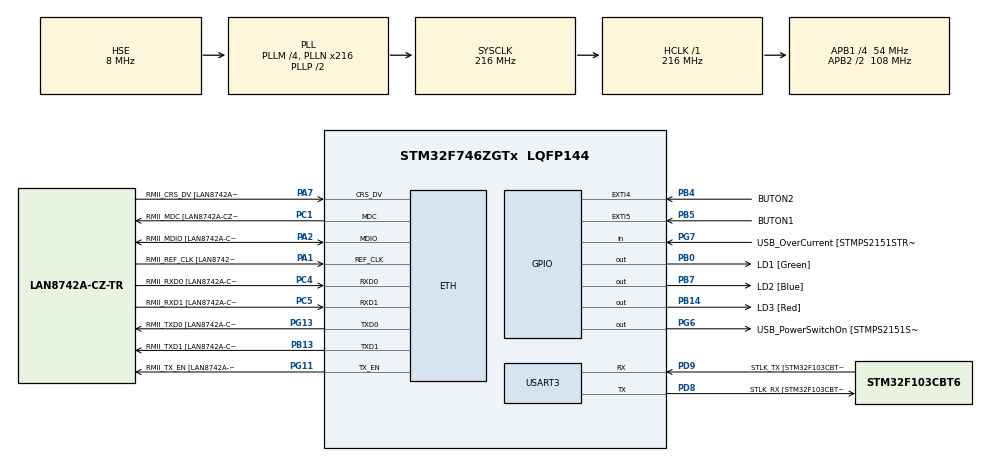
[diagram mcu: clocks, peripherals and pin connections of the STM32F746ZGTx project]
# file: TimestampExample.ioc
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ETH.MediaInterface=ETH_MEDIA_INTERFACE_RMII
ETH.PHY_Name=LAN8742A_PHY_ADDRESS
ETH.PHY_Value=0
ETH.PhyAddress=0
LWIP.IP_ADDRESS=010.042.000.010
LWIP.LWIP_DHCP=0
LWIP.LWIP_SNTP=0
LWIP.NETMASK_ADDRESS=255.255.255.000
LWIP.Version=v2.1.2_Cube
Mcu.Family=STM32F7
Mcu.Name=STM32F746ZGTx
Mcu.Package=LQFP144
NVIC.EXTI4_IRQn=true\:0\:0\:false\:false\:true\:true\:true\:true
NVIC.EXTI9_5_IRQn=true\:0\:0\:false\:false\:true\:true\:true\:true
NVIC.PriorityGroup=NVIC_PRIORITYGROUP_4
NVIC.RTC_WKUP_IRQn=true\:0\:0\:false\:false\:true\:true\:true\:true
PA1.GPIO_Label=RMII_REF_CLK [LAN8742A-CZ-TR_REFCLK0]
PA1.Mode=RMII
PA1.Signal=ETH_REF_CLK
PA13.GPIO_Label=TMS
PA13.Mode=Trace_Asynchronous_SW
PA13.Signal=SYS_JTMS-SWDIO
PA14.GPIO_Label=TCK
PA14.Mode=Trace_Asynchronous_SW
PA14.Signal=SYS_JTCK-SWCLK
PA2.GPIO_Label=RMII_MDIO [LAN8742A-CZ-TR_MDIO]
PA2.Mode=RMII
PA2.Signal=ETH_MDIO
PA7.GPIO_Label=RMII_CRS_DV [LAN8742A-CZ-TR_CRS_DV]
PA7.Mode=RMII
PA7.Signal=ETH_CRS_DV
PB0.GPIO_Label=LD1 [Green]
PB0.Signal=GPIO_Output
PB13.GPIO_Label=RMII_TXD1 [LAN8742A-CZ-TR_TXD1]
PB13.Mode=RMII
PB13.Signal=ETH_TXD1
PB14.GPIO_Label=LD3 [Red]
PB14.Signal=GPIO_Output
PB3.GPIO_Label=SW0
PB3.Mode=Trace_Asynchronous_SW
PB3.Signal=SYS_JTDO-SWO
PB4.GPIO_Label=BUTON2
PB4.GPIO_ModeDefaultEXTI=GPIO_MODE_IT_RISING
PB4.GPIO_PuPd=GPIO_PULLDOWN
PB4.Signal=GPXTI4
PB5.GPIO_Label=BUTON1
PB5.GPIO_ModeDefaultEXTI=GPIO_MODE_IT_RISING
PB5.GPIO_PuPd=GPIO_PULLDOWN
PB5.Signal=GPXTI5
PB7.GPIO_Label=LD2 [Blue]
PB7.Signal=GPIO_Output
PC1.GPIO_Label=RMII_MDC [LAN8742A-CZ-TR_MDC]
PC1.Mode=RMII
PC1.Signal=ETH_MDC
PC14/OSC32_IN.Mode=LSE-External-Oscillator
PC14/OSC32_IN.Signal=RCC_OSC32_IN
PC15/OSC32_OUT.Mode=LSE-External-Oscillator
PC15/OSC32_OUT.Signal=RCC_OSC32_OUT
PC4.GPIO_Label=RMII_RXD0 [LAN8742A-CZ-TR_RXD0]
PC4.Mode=RMII
PC4.Signal=ETH_RXD0
PC5.GPIO_Label=RMII_RXD1 [LAN8742A-CZ-TR_RXD1]
PC5.Mode=RMII
PC5.Signal=ETH_RXD1
PD8.GPIO_Label=STLK_RX [STM32F103CBT6_PA3]
PD8.Mode=Asynchronous
PD8.Signal=USART3_TX
PD9.GPIO_Label=STLK_TX [STM32F103CBT6_PA2]
PD9.Mode=Asynchronous
PD9.Signal=USART3_RX
PG11.GPIO_Label=RMII_TX_EN [LAN8742A-CZ-TR_TXEN]
PG11.Mode=RMII
PG11.Signal=ETH_TX_EN
PG13.GPIO_Label=RMII_TXD0 [LAN8742A-CZ-TR_TXD0]
PG13.Mode=RMII
PG13.Signal=ETH_TXD0
PG6.GPIO_Label=USB_PowerSwitchOn [STMPS2151STR_EN]
PG6.Signal=GPIO_Output
PG7.GPIO_Label=USB_OverCurrent [STMPS2151STR_FAULT]
PG7.Signal=GPIO_Input
PH0/OSC_IN.Mode=HSE-External-Clock-Source
PH0/OSC_IN.Signal=RCC_OSC_IN
PH1/OSC_OUT.Mode=HSE-External-Clock-Source
PH1/OSC_OUT.Signal=RCC_OSC_OUT
ProjectManager.HeapSize=0x200
ProjectManager.StackSize=0x400
ProjectManager.TargetToolchain=STM32CubeIDE
RCC.48MHZClocksFreq_Value=24000000
RCC.AHBFreq_Value=216000000
RCC.APB1CLKDivider=RCC_HCLK_DIV4
RCC.APB1Freq_Value=54000000
RCC.APB1TimFreq_Value=108000000
RCC.APB2CLKDivider=RCC_HCLK_DIV2
RCC.APB2Freq_Value=108000000
RCC.APB2TimCLKDivider=1
RCC.APB2TimFreq_Value=108000000
RCC.CortexFreq_Value=216000000
RCC.HCLKFreq_Value=216000000
RCC.HSE_VALUE=8000000
RCC.HSI_VALUE=16000000
RCC.PLLM=4
RCC.PLLMUL=RCC_PLL_MUL9
RCC.PLLN=216
RCC.PLLQ=9
RCC.PLLSourceVirtual=RCC_PLLSOURCE_HSE
RCC.PRESCALERUSB=RCC_USBCLKSOURCE_PLL_DIV1_5
RCC.RTCClockSelection=RCC_RTCCLKSOURCE_LSE
RCC.SYSCLKFreq_VALUE=216000000
RCC.SYSCLKSource=RCC_SYSCLKSOURCE_PLLCLK
RCC.SYSCLKSourceVirtual=RCC_SYSCLKSOURCE_PLLCLK
RCC.USBFreq_Value=48000000
RCC.VCOOutputFreq_Value=432000000
RTC.AsynchPrediv=31
RTC.SynchPrediv=1023
USART3.VirtualMode-Asynchronous=VM_ASYNC
VP_LWIP_VS_Enabled.Mode=Enabled
VP_RTC_VS_RTC_Activate.Mode=RTC_Enabled
VP_RTC_VS_RTC_Calendar.Mode=RTC_Calendar
VP_RTC_VS_RTC_WakeUp_intern.Mode=WakeUp
board=NUCLEO-F746ZG

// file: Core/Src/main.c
/* USER CODE BEGIN Header */
/**
  ******************************************************************************
  * @file           : main.c
  * @brief          : Main program body
  ******************************************************************************
  * @attention
  *
  * Copyright (c) 2022 STMicroelectronics.
  * All rights reserved.
  *
  * This software is licensed under terms that can be found in the LICENSE file
  * in the root directory of this software component.
  * If no LICENSE file comes with this software, it is provided AS-IS.
  *
  ******************************************************************************
  */
/* USER CODE END Header */
#include "main.h"
#include "lwip.h"

/* USER CODE BEGIN Includes */
#include "stdio.h"
//#include "retarget.h"
#include "qpc.h"
#include "Shape.h"
#include "stdlib.h"  /*For malloc function*/
#include "time.h"
#include <inttypes.h>
#include "lwip/udp.h"
#include "string.h"
#include "sntp.h"

/* USER CODE END Includes */

/* USER CODE BEGIN PTD */
RTC_HandleTypeDef hrtc;
RTC_TimeTypeDef  sTime;
RTC_DateTypeDef  sDate;

#define NTP_MSJ_BOYUT 48

static struct udp_pcb *NtpPcb;
static struct pbuf *NtpBuffer=NULL;
err_t NtpErr;
char Ntp_Message[NTP_MSJ_BOYUT];

/* USER CODE END PTD */

/* USER CODE BEGIN PD */
#define UartHandle &huart3
#define RtcHandle  &hrtc
static uint16_t YearStart=2000;

uint16_t MsecArr[100]={0};
uint16_t MsecArrCntr=0;

//#define LOCALIP_1 192
//#define LOCALIP_2 168
//#define LOCALIP_3 0
//#define LOCALIP_4 5
//
//#define REMOTEIP_1 192
//#define REMOTEIP_2 168
//#define REMOTEIP_3 0
//#define REMOTEIP_4 1

#define LOCALIP_1 10
#define LOCALIP_2 42
#define LOCALIP_3 0
#define LOCALIP_4 10

#define REMOTEIP_1 10
#define REMOTEIP_2 42
#define REMOTEIP_3 0
#define REMOTEIP_4 1

#define NTP_PORT    123
#define NTP_LOCALPORT 5666

/* USER CODE END PD */

RTC_HandleTypeDef hrtc;

UART_HandleTypeDef huart3;

/* USER CODE BEGIN PV */
static time_t  timestamp=0;
static struct tm 	currTime;
static uint16_t milliseconds=0;
long long int longtimestamp=0;

/* USER CODE END PV */

void SystemClock_Config(void);
static void MX_GPIO_Init(void);
static void MX_USART3_UART_Init(void);
static void MX_RTC_Init(void);
/* USER CODE BEGIN PFP */

void udpNtpcallback(void *arg,struct udp_pcb *NtpPcb,struct pbuf *NtpBuffer,const ip_addr_t *addr,u16_t port);

void LocalNtp_Request(void)
{

//    NtpPcb = udp_new();

//    if (!NtpPcb)
//    {
//        LOCAL_NTP_DEBUG("[Error] UDP_NEW Failed! \r\n");
//        return;
//    }

    memset(Ntp_Message, 0, NTP_MSJ_BOYUT);

    Ntp_Message[0] = 0x1B;
//    IP4_ADDR(&DestIPaddr, IP_ADDR0, IP_ADDR1, IP_ADDR2, IP_ADDR3);
//    IP4_ADDR(&NtpPcb->remote_ip,REMOTEIP_1,REMOTEIP_2,REMOTEIP_3,REMOTEIP_4);

    NtpErr = udp_connect(NtpPcb, &NtpPcb->remote_ip, NTP_PORT);

//    udp_recv(NtpPcb, udpNtpcallback, NULL);

    if (NtpErr == ERR_OK)
    {
    	NtpBuffer = pbuf_alloc(PBUF_TRANSPORT, NTP_MSJ_BOYUT,  PBUF_REF);
        memcpy(NtpBuffer->payload, Ntp_Message, NTP_MSJ_BOYUT);

        NtpErr = udp_send(NtpPcb, NtpBuffer);

        if (NtpErr != ERR_OK)
        {
            udp_remove(NtpPcb);
        }

        pbuf_free(NtpBuffer);

    }
}

int8_t UdpNTP_Konf(void)
{
	NtpPcb = udp_new();
	IP4_ADDR(&NtpPcb->remote_ip,REMOTEIP_1,REMOTEIP_2,REMOTEIP_3,REMOTEIP_4);
	NtpPcb->remote_port = NTP_PORT;
	IP4_ADDR(&NtpPcb->local_ip,LOCALIP_1,LOCALIP_2,LOCALIP_3,LOCALIP_4);
	NtpPcb->local_port = NTP_LOCALPORT;
	NtpErr = udp_bind(NtpPcb, &NtpPcb->local_ip,NtpPcb->local_port);
	if(NtpErr == 0){
		udp_recv(NtpPcb, &udpNtpcallback, NULL);
	}
	return NtpErr;
}

void NtpMesajParcala(void)
{
    const unsigned long seventyYears = 2208988800UL;
    static unsigned long secsSince1900 = 0;
    struct tm *stmU;
    time_t epoch;

    secsSince1900 = (Ntp_Message[ 40 ] << 24) | (Ntp_Message[ 41 ] << 16) | (Ntp_Message[ 42 ] <<  8) | (Ntp_Message[ 43 ]);
    epoch = secsSince1900 - seventyYears;
	stmU = localtime(&epoch);
	sDate.Year = stmU->tm_year - 100;
	sDate.Month = stmU->tm_mon + 1;
	sDate.Date = stmU->tm_mday;
//	sTime.Hours = stmU->tm_hour + 3;
	sTime.Hours = stmU->tm_hour;
	sTime.Minutes = stmU->tm_min;
	sTime.Seconds = stmU->tm_sec;

	/** Initialize RTC and set the Time and Date*/
	if (HAL_RTC_SetTime(&hrtc, &sTime, RTC_FORMAT_BIN) != HAL_OK)
		Error_Handler();
	if (HAL_RTC_SetDate(&hrtc, &sDate, RTC_FORMAT_BIN) != HAL_OK)
		Error_Handler();
}

void udpNtpcallback(void *arg,struct udp_pcb *NtpPcb,struct pbuf *NtpBuffer,const ip_addr_t *addr,u16_t port)
{
	memset(Ntp_Message,0x00,NTP_MSJ_BOYUT);
	memcpy(Ntp_Message, NtpBuffer -> payload, NtpBuffer -> tot_len);
	pbuf_free(NtpBuffer);

	NtpMesajParcala();

}

void UdpNtpVeriPaketiGonder(char arr[],uint8_t boyut,uint16_t port)
{
	  NtpBuffer = pbuf_alloc(PBUF_TRANSPORT,boyut, PBUF_POOL);
	  /* allocate pbuf from pool*/
	 if(NtpBuffer != NULL){
		/* copy data to pbuf */
		pbuf_take(NtpBuffer,arr,boyut);
		/* send udp data */
//		udp_send(NtpPcb,NtpBuffer);
		udp_sendto(NtpPcb, NtpBuffer, &NtpPcb->remote_ip, port);
	 }
		/* free pbuf */
		pbuf_free(NtpBuffer);
//		NtpBuffer = NULL;
}

void NtpIstekGonder(void)
{
    Ntp_Message[0] = 0x1B;
    UdpNtpVeriPaketiGonder(Ntp_Message,NTP_MSJ_BOYUT,NTP_PORT);
//	pbuf_free(NtpBuffer);
}

void HAL_RTCEx_WakeUpTimerEventCallback(RTC_HandleTypeDef *hrtc)
{
	static RTC_TimeTypeDef sTime;
	static RTC_DateTypeDef sDate;
	static char message[50];
	static size_t size;

	// Get current time and date
	HAL_RTC_GetTime(hrtc, &sTime, RTC_FORMAT_BIN);
	HAL_RTC_GetDate(hrtc, &sDate, RTC_FORMAT_BIN);
	currTime.tm_year = sDate.Year + 100;
	currTime.tm_mday = sDate.Date;
	currTime.tm_mon =  sDate.Month - 1;
	currTime.tm_hour = sTime.Hours;
	currTime.tm_min = sTime.Minutes;
	currTime.tm_sec = sTime.Seconds;
	uint16_t mseconds = (sTime.SubSeconds * 1000) / (sTime.SecondFraction + 1);
	timestamp = (mktime(&currTime) * 1000 + mseconds);
	longtimestamp = timestamp;
	__NOP();

//	if(MsecArrCntr <100){
//		MsecArr[MsecArrCntr] = mseconds;
//		MsecArrCntr++;
//	}

	// Send time and date over uart
	size = sprintf(message, "Date: %2.2u-%2.2u-%4.4u\n\r", sDate.Date, sDate.Month, sDate.Year + YearStart);
	HAL_UART_Transmit(UartHandle, (uint8_t*)message, size, 50);
	size = sprintf(message, "Time: %2.2u:%2.2u:%2.2u:%3.3u\n\r", sTime.Hours, sTime.Minutes, sTime.Seconds, mseconds);
	HAL_UART_Transmit(UartHandle, (uint8_t*)message, size, 50);
	size = sprintf(message, "%lld\n\r",longtimestamp);
	HAL_UART_Transmit(UartHandle, (uint8_t*)message, size, 50);

	UdpNtpVeriPaketiGonder(message, size, (uint16_t)5667);

}

void Q_onAssert(char const *module, int loc);

/* USER CODE END PFP */

/* USER CODE BEGIN 0 */
Shape s1; /*static allocation*/
/* USER CODE END 0 */

int main(void)
{

  /* MCU Configuration--------------------------------------------------------*/

  /* Reset of all peripherals, Initializes the Flash interface and the Systick. */
  HAL_Init();

  /* Configure the system clock */
  SystemClock_Config();

  /* Initialize all configured peripherals */
  MX_GPIO_Init();
  MX_USART3_UART_Init();
  MX_RTC_Init();
  MX_LWIP_Init();
  /* USER CODE BEGIN 2 */
//  RetargetInit(&huart3);

  // Disable Wakeup Timer and configure it
  HAL_RTCEx_DeactivateWakeUpTimer(RtcHandle);

//  // Data
//  RTC_TimeTypeDef sTime;
//  RTC_DateTypeDef sDate;
//  char message[50];
//  uint8_t size;
//
//  // Uart HELLO
//  size = sprintf(message, "\n\rHello\n\r");
//  HAL_UART_Transmit(UartHandle, (uint8_t*)message, size, 50);
//
//  // Set date and time
//  sDate.WeekDay = RTC_WEEKDAY_TUESDAY;
//  sDate.Date = 25;
//  sDate.Month = 5;
//  sDate.Year = 22; // from 0-99 (1972 == 72, start year = 1900)
//  HAL_RTC_SetDate(RtcHandle, &sDate, RTC_FORMAT_BIN);
//  sTime.Hours = 8;
//  sTime.Minutes = 57;
//  HAL_RTC_SetTime(RtcHandle, &sTime, RTC_FORMAT_BIN);

  // Start Wakeup timer with configuration (32768Hz / 16 = 2048) -> Counter = 2048
  HAL_RTCEx_SetWakeUpTimer_IT(RtcHandle, 2048-1, RTC_WAKEUPCLOCK_RTCCLK_DIV16);

//  // Start Wakeup timer with configuration (32768Hz / 2 = 16384) -> Counter = 16384
//  HAL_RTCEx_SetWakeUpTimer_IT(RtcHandle, 9-1, RTC_WAKEUPCLOCK_RTCCLK_DIV2);

  UdpNTP_Konf();

  /* USER CODE END 2 */

  /* Infinite loop */
  while (1)
  {

    /* USER CODE BEGIN 3 */

	  MX_LWIP_Process();
  }
  /* USER CODE END 3 */
}

void SystemClock_Config(void)
{
  RCC_OscInitTypeDef RCC_OscInitStruct = {0};
  RCC_ClkInitTypeDef RCC_ClkInitStruct = {0};

  /** Configure LSE Drive Capability
  */
  HAL_PWR_EnableBkUpAccess();
  __HAL_RCC_LSEDRIVE_CONFIG(RCC_LSEDRIVE_LOW);

  /** Configure the main internal regulator output voltage
  */
  __HAL_RCC_PWR_CLK_ENABLE();
  __HAL_PWR_VOLTAGESCALING_CONFIG(PWR_REGULATOR_VOLTAGE_SCALE1);

  /** Initializes the RCC Oscillators according to the specified parameters
  * in the RCC_OscInitTypeDef structure.
  */
  RCC_OscInitStruct.OscillatorType = RCC_OSCILLATORTYPE_HSE|RCC_OSCILLATORTYPE_LSE;
  RCC_OscInitStruct.HSEState = RCC_HSE_BYPASS;
  RCC_OscInitStruct.LSEState = RCC_LSE_ON;
  RCC_OscInitStruct.PLL.PLLState = RCC_PLL_ON;
  RCC_OscInitStruct.PLL.PLLSource = RCC_PLLSOURCE_HSE;
  RCC_OscInitStruct.PLL.PLLM = 4;
  RCC_OscInitStruct.PLL.PLLN = 216;
  RCC_OscInitStruct.PLL.PLLP = RCC_PLLP_DIV2;
  RCC_OscInitStruct.PLL.PLLQ = 9;
  if (HAL_RCC_OscConfig(&RCC_OscInitStruct) != HAL_OK)
  {
    Error_Handler();
  }

  /** Activate the Over-Drive mode
  */
  if (HAL_PWREx_EnableOverDrive() != HAL_OK)
  {
    Error_Handler();
  }

  /** Initializes the CPU, AHB and APB buses clocks
  */
  RCC_ClkInitStruct.ClockType = RCC_CLOCKTYPE_HCLK|RCC_CLOCKTYPE_SYSCLK
                              |RCC_CLOCKTYPE_PCLK1|RCC_CLOCKTYPE_PCLK2;
  RCC_ClkInitStruct.SYSCLKSource = RCC_SYSCLKSOURCE_PLLCLK;
  RCC_ClkInitStruct.AHBCLKDivider = RCC_SYSCLK_DIV1;
  RCC_ClkInitStruct.APB1CLKDivider = RCC_HCLK_DIV4;
  RCC_ClkInitStruct.APB2CLKDivider = RCC_HCLK_DIV2;

  if (HAL_RCC_ClockConfig(&RCC_ClkInitStruct, FLASH_LATENCY_7) != HAL_OK)
  {
    Error_Handler();
  }
}

static void MX_RTC_Init(void)
{

  RTC_TimeTypeDef sTime = {0};
  RTC_DateTypeDef sDate = {0};

  /** Initialize RTC Only
  */
  hrtc.Instance = RTC;
  hrtc.Init.HourFormat = RTC_HOURFORMAT_24;
  hrtc.Init.AsynchPrediv = 31;
  hrtc.Init.SynchPrediv = 1023;
  hrtc.Init.OutPut = RTC_OUTPUT_DISABLE;
  hrtc.Init.OutPutPolarity = RTC_OUTPUT_POLARITY_HIGH;
  hrtc.Init.OutPutType = RTC_OUTPUT_TYPE_OPENDRAIN;
  if (HAL_RTC_Init(&hrtc) != HAL_OK)
  {
    Error_Handler();
  }

  /** Initialize RTC and set the Time and Date
  */
  sTime.Hours = 0x0;
  sTime.Minutes = 0x0;
  sTime.Seconds = 0x0;
  sTime.DayLightSaving = RTC_DAYLIGHTSAVING_NONE;
  sTime.StoreOperation = RTC_STOREOPERATION_RESET;
  if (HAL_RTC_SetTime(&hrtc, &sTime, RTC_FORMAT_BCD) != HAL_OK)
  {
    Error_Handler();
  }
  sDate.WeekDay = RTC_WEEKDAY_MONDAY;
  sDate.Month = RTC_MONTH_JANUARY;
  sDate.Date = 0x1;
  sDate.Year = 0x0;

  if (HAL_RTC_SetDate(&hrtc, &sDate, RTC_FORMAT_BCD) != HAL_OK)
  {
    Error_Handler();
  }

  /** Enable the WakeUp
  */
  if (HAL_RTCEx_SetWakeUpTimer_IT(&hrtc, 0, RTC_WAKEUPCLOCK_RTCCLK_DIV16) != HAL_OK)
  {
    Error_Handler();
  }

}

static void MX_USART3_UART_Init(void)
{

  huart3.Instance = USART3;
  huart3.Init.BaudRate = 115200;
  huart3.Init.WordLength = UART_WORDLENGTH_8B;
  huart3.Init.StopBits = UART_STOPBITS_1;
  huart3.Init.Parity = UART_PARITY_NONE;
  huart3.Init.Mode = UART_MODE_TX_RX;
  huart3.Init.HwFlowCtl = UART_HWCONTROL_NONE;
  huart3.Init.OverSampling = UART_OVERSAMPLING_16;
  huart3.Init.OneBitSampling = UART_ONE_BIT_SAMPLE_DISABLE;
  huart3.AdvancedInit.AdvFeatureInit = UART_ADVFEATURE_NO_INIT;
  if (HAL_UART_Init(&huart3) != HAL_OK)
  {
    Error_Handler();
  }

}

static void MX_GPIO_Init(void)
{
  GPIO_InitTypeDef GPIO_InitStruct = {0};

  /* GPIO Ports Clock Enable */
  __HAL_RCC_GPIOC_CLK_ENABLE();
  __HAL_RCC_GPIOH_CLK_ENABLE();
  __HAL_RCC_GPIOA_CLK_ENABLE();
  __HAL_RCC_GPIOB_CLK_ENABLE();
  __HAL_RCC_GPIOD_CLK_ENABLE();
  __HAL_RCC_GPIOG_CLK_ENABLE();

  /*Configure GPIO pin Output Level */
  HAL_GPIO_WritePin(GPIOB, LD1_Pin|LD3_Pin|LD2_Pin, GPIO_PIN_RESET);

  /*Configure GPIO pin Output Level */
  HAL_GPIO_WritePin(USB_PowerSwitchOn_GPIO_Port, USB_PowerSwitchOn_Pin, GPIO_PIN_RESET);

  /*Configure GPIO pins : LD1_Pin LD3_Pin LD2_Pin */
  GPIO_InitStruct.Pin = LD1_Pin|LD3_Pin|LD2_Pin;
  GPIO_InitStruct.Mode = GPIO_MODE_OUTPUT_PP;
  GPIO_InitStruct.Pull = GPIO_NOPULL;
  GPIO_InitStruct.Speed = GPIO_SPEED_FREQ_LOW;
  HAL_GPIO_Init(GPIOB, &GPIO_InitStruct);

  /*Configure GPIO pin : USB_PowerSwitchOn_Pin */
  GPIO_InitStruct.Pin = USB_PowerSwitchOn_Pin;
  GPIO_InitStruct.Mode = GPIO_MODE_OUTPUT_PP;
  GPIO_InitStruct.Pull = GPIO_NOPULL;
  GPIO_InitStruct.Speed = GPIO_SPEED_FREQ_LOW;
  HAL_GPIO_Init(USB_PowerSwitchOn_GPIO_Port, &GPIO_InitStruct);

  /*Configure GPIO pin : USB_OverCurrent_Pin */
  GPIO_InitStruct.Pin = USB_OverCurrent_Pin;
  GPIO_InitStruct.Mode = GPIO_MODE_INPUT;
  GPIO_InitStruct.Pull = GPIO_NOPULL;
  HAL_GPIO_Init(USB_OverCurrent_GPIO_Port, &GPIO_InitStruct);

  /*Configure GPIO pins : BUTON2_Pin BUTON1_Pin */
  GPIO_InitStruct.Pin = BUTON2_Pin|BUTON1_Pin;
  GPIO_InitStruct.Mode = GPIO_MODE_IT_RISING;
  GPIO_InitStruct.Pull = GPIO_PULLDOWN;
  HAL_GPIO_Init(GPIOB, &GPIO_InitStruct);

  /* EXTI interrupt init*/
  HAL_NVIC_SetPriority(EXTI4_IRQn, 0, 0);
  HAL_NVIC_EnableIRQ(EXTI4_IRQn);

  HAL_NVIC_SetPriority(EXTI9_5_IRQn, 0, 0);
  HAL_NVIC_EnableIRQ(EXTI9_5_IRQn);

}

/* USER CODE BEGIN 4 */

void HAL_GPIO_EXTI_Callback(uint16_t GPIO_Pin)
{
  /* Prevent unused argument(s) compilation warning */
  UNUSED(GPIO_Pin);

  __NOP();

  NtpIstekGonder();
//  LocalNtp_Request();

}

void Q_onAssert(char const *module, int loc) {
    /* TBD: damage control */
    (void)module; /* avoid the "unused parameter" compiler warning */
    (void)loc;    /* avoid the "unused parameter" compiler warning */
    NVIC_SystemReset();
}

/* USER CODE END 4 */

void Error_Handler(void)
{
  __disable_irq();
  while (1)
  {
  }
}
